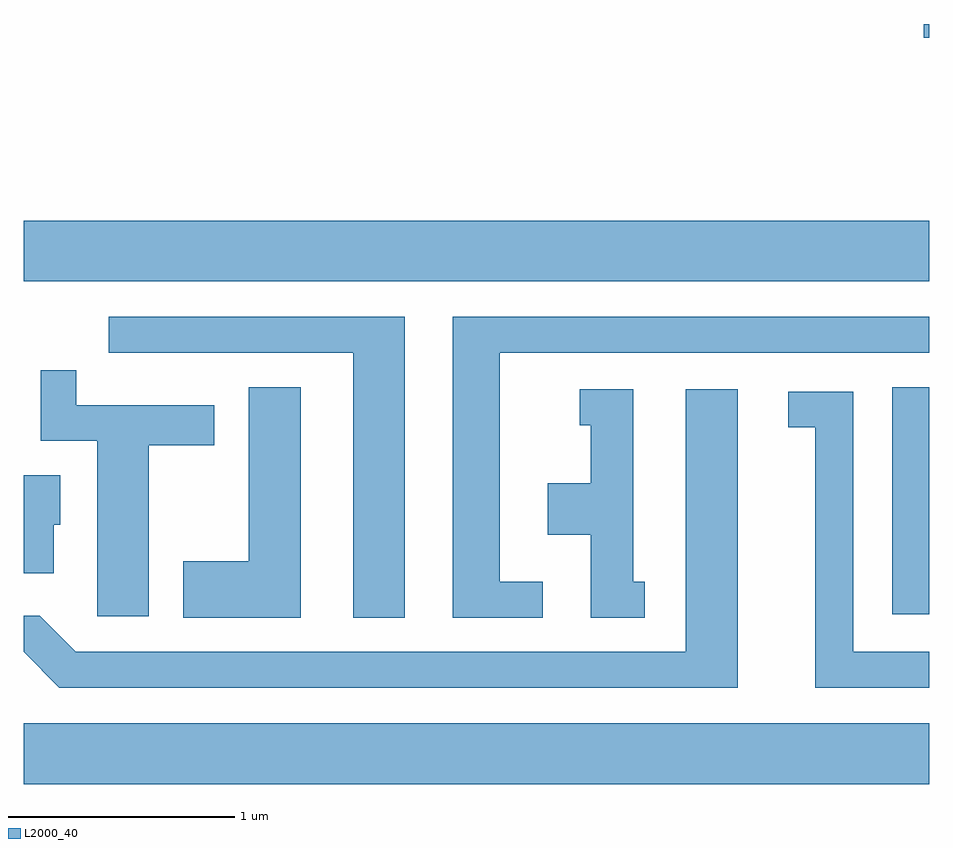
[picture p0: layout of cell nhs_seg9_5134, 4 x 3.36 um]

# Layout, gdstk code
import gdstk
lib = gdstk.Library(unit=1e-6, precision=1e-09)
def R(c, l, rs):  # rectangles x0, y0, x1, y1
    for r in rs: c.add(gdstk.rectangle(r[:2], r[2:], *l))
def P(c, l, *ps):  # polygons
    for p in ps: c.add(gdstk.Polygon(p, *l))
L2000_40 = (2000, 40)

nhs_seg9_5134 = lib.new_cell('nhs_seg9_5134')
R(nhs_seg9_5134, L2000_40, [(335.611,2065.076,339.611,2065.344), (339.446,2065.826,339.611,2066.829), (335.611,2067.296,339.611,2067.564), (339.586,2068.371,339.611,2068.432)])
P(nhs_seg9_5134, L2000_40, [(337.294,2067.139),(335.988,2067.139),(335.988,2066.981),(337.066,2066.981),(337.066,2065.811),(337.294,2065.811)],
  [(337.903,2065.969),(337.714,2065.969),(337.714,2066.981),(339.611,2066.981),(339.611,2067.139),(337.506,2067.139),(337.506,2065.811),(337.903,2065.811)],
  [(336.164,2066.571),(336.454,2066.571),(336.454,2066.749),(335.844,2066.749),(335.844,2066.903),(335.686,2066.903),(335.686,2066.591),(335.936,2066.591),(335.936,2065.816),(336.164,2065.816)],
  [(336.834,2066.829),(336.606,2066.829),(336.606,2066.059),(336.316,2066.059),(336.316,2065.811),(336.834,2065.811)],
  [(338.353,2065.969),(338.304,2065.969),(338.304,2066.819),(338.068,2066.819),(338.068,2066.661),(338.116,2066.661),(338.116,2066.404),(337.926,2066.404),(337.926,2066.176),(338.116,2066.176),(338.116,2065.811),(338.353,2065.811)],
  [(338.764,2066.819),(338.536,2066.819),(338.536,2065.659),(335.842,2065.659),(335.682,2065.819),(335.611,2065.819),(335.611,2065.659),(335.769,2065.501),(338.764,2065.501)],
  [(339.611,2065.659),(339.274,2065.659),(339.274,2066.809),(338.988,2066.809),(338.988,2066.651),(339.106,2066.651),(339.106,2065.501),(339.611,2065.501)],
  [(335.744,2066.221),(335.774,2066.221),(335.774,2066.439),(335.611,2066.439),(335.611,2066.006),(335.744,2066.006)])

lib.write_gds('nhs_seg9_5134.gds')
